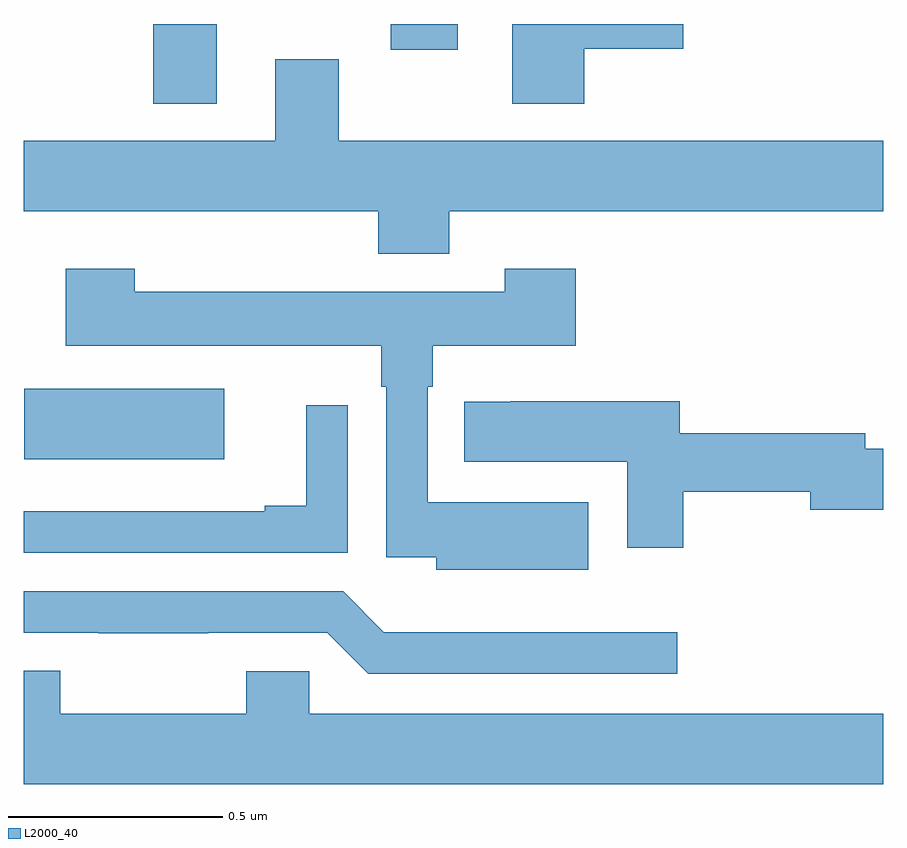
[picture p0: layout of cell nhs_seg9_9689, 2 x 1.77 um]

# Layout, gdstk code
import gdstk
lib = gdstk.Library(unit=1e-6, precision=1e-09)
def R(c, l, rs):  # rectangles x0, y0, x1, y1
    for r in rs: c.add(gdstk.rectangle(r[:2], r[2:], *l))
def P(c, l, *ps):  # polygons
    for p in ps: c.add(gdstk.Polygon(p, *l))
L2000_40 = (2000, 40)

nhs_seg9_9689 = lib.new_cell('nhs_seg9_9689')
R(nhs_seg9_9689, L2000_40, [(233.001,1218.488,233.467,1218.652), (233.302,1219.314,233.449,1219.5), (233.854,1219.44,234.01,1219.5)])
P(nhs_seg9_9689, L2000_40, [(234.304,1219.442),(234.535,1219.442),(234.535,1219.5),(234.137,1219.5),(234.137,1219.314),(234.304,1219.314)],
  [(233.99,1219.064),(235,1219.064),(235,1219.228),(233.733,1219.228),(233.733,1219.418),(233.585,1219.418),(233.585,1219.228),(233,1219.228),(233,1219.064),(233.825,1219.064),(233.825,1218.965),(233.99,1218.965)],
  [(234.313,1218.388),(233.94,1218.388),(233.94,1218.656),(233.952,1218.656),(233.952,1218.752),(234.284,1218.752),(234.284,1218.931),(234.119,1218.931),(234.119,1218.877),(233.258,1218.877),(233.258,1218.931),(233.098,1218.931),(233.098,1218.752),(233.832,1218.752),(233.832,1218.656),(233.844,1218.656),(233.844,1218.26),(233.96,1218.26),(233.96,1218.23),(234.313,1218.23)],
  [(234.534,1218.412),(234.83,1218.412),(234.83,1218.37),(235,1218.37),(235,1218.512),(234.958,1218.512),(234.958,1218.548),(234.526,1218.548),(234.526,1218.622),(234.133,1218.622),(234.133,1218.621),(234.025,1218.621),(234.025,1218.482),(234.404,1218.482),(234.404,1218.282),(234.534,1218.282)],
  [(233.754,1218.613),(233.657,1218.613),(233.657,1218.379),(233.561,1218.379),(233.561,1218.366),(233,1218.366),(233,1218.27),(233.754,1218.27)],
  [(234.52,1218.085),(233.838,1218.085),(233.743,1218.18),(233,1218.18),(233,1218.084),(233.173,1218.084),(233.173,1218.083),(233.429,1218.083),(233.429,1218.084),(233.706,1218.084),(233.802,1217.988),(234.52,1217.988)],
  [(235,1217.896),(233.664,1217.896),(233.664,1217.994),(233.518,1217.994),(233.518,1217.896),(233.085,1217.896),(233.085,1217.995),(233,1217.995),(233,1217.732),(235,1217.732)])

lib.write_gds('nhs_seg9_9689.gds')
